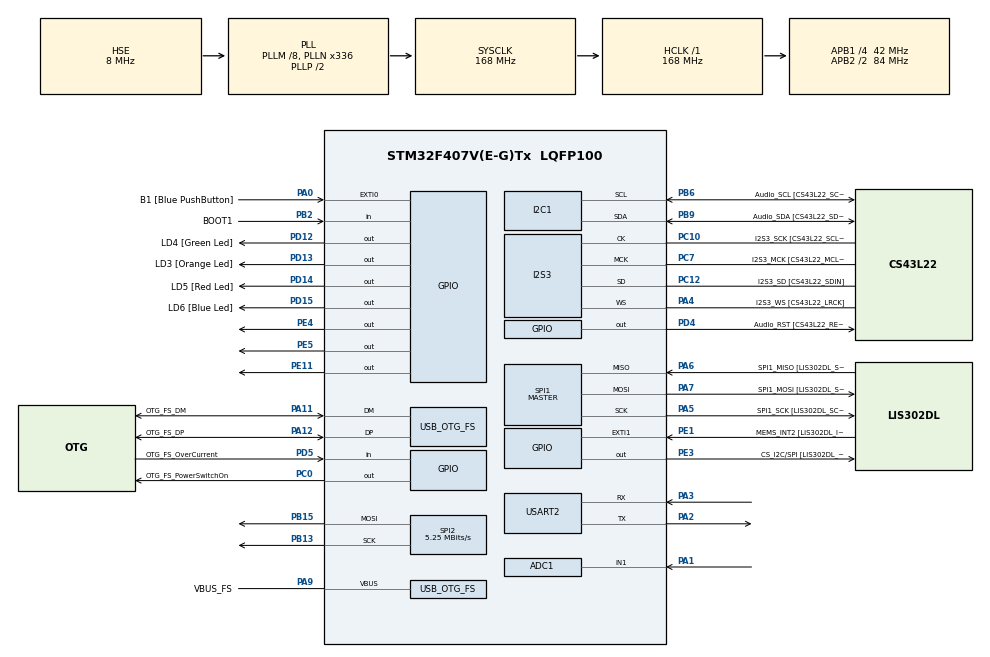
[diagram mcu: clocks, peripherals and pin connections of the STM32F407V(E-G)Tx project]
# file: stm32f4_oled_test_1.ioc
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ADC1.Channel-0\#ChannelRegularConversion=ADC_CHANNEL_1
ADC1.ClockPrescaler=ADC_CLOCK_SYNC_PCLK_DIV8
ADC1.ExternalTrigConv=ADC_EXTERNALTRIGCONV_T8_TRGO
ADC1.InjNumberOfConversion=0
ADC1.NbrOfConversion=1
ADC1.NbrOfConversionFlag=1
ADC1.Rank-0\#ChannelRegularConversion=1
ADC1.SamplingTime-0\#ChannelRegularConversion=ADC_SAMPLETIME_3CYCLES
ADC1.master=1
FREERTOS.Tasks01=defaultTask,24,128,StartDefaultTask,Default,NULL,Dynamic,NULL,NULL
I2S3.AudioFreq-Half_Duplex_Master=I2S_AUDIOFREQ_96K
I2S3.ErrorAudioFreq=-2.34 %
I2S3.ErrorAudioFreq-Half_Duplex_Master=0.8 %
I2S3.FullDuplexMode=I2S_FULLDUPLEXMODE_DISABLE
I2S3.Instance=SPI$Index
I2S3.RealAudioFreq=93.75 KHz
I2S3.RealAudioFreq-Half_Duplex_Master=96.774 KHz
I2S3.VirtualMode=I2S_MODE_MASTER
Mcu.Family=STM32F4
Mcu.Name=STM32F407V(E-G)Tx
Mcu.Package=LQFP100
NVIC.ADC_IRQn=true\:0\:0\:false\:false\:true\:true\:true\:true
NVIC.EXTI0_IRQn=true\:0\:0\:false\:false\:true\:false\:true\:true
NVIC.OTG_FS_IRQn=true\:0\:0\:false\:false\:true\:false\:true\:true
NVIC.PriorityGroup=NVIC_PRIORITYGROUP_4
NVIC.TIM8_TRG_COM_TIM14_IRQn=true\:0\:0\:false\:false\:true\:true\:false\:true
NVIC.TimeBase=TIM8_TRG_COM_TIM14_IRQn
NVIC.TimeBaseIP=TIM14
NVIC.USART2_IRQn=true\:0\:0\:false\:false\:true\:false\:true\:true
PA0-WKUP.GPIO_Label=B1 [Blue PushButton]
PA0-WKUP.GPIO_ModeDefaultEXTI=GPIO_MODE_IT_RISING
PA0-WKUP.GPIO_PuPd=GPIO_NOPULL
PA0-WKUP.Signal=GPXTI0
PA1.Signal=ADCx_IN1
PA10.GPIO_Label=OTG_FS_ID
PA10.GPIO_Mode=GPIO_MODE_AF_PP
PA10.GPIO_PuPd=GPIO_NOPULL
PA10.GPIO_Speed=GPIO_SPEED_FREQ_LOW
PA10.Signal=USB_OTG_FS_ID
PA11.GPIO_Label=OTG_FS_DM
PA11.GPIO_Mode=GPIO_MODE_AF_PP
PA11.GPIO_PuPd=GPIO_NOPULL
PA11.GPIO_Speed=GPIO_SPEED_FREQ_LOW
PA11.Mode=Host_Only
PA11.Signal=USB_OTG_FS_DM
PA12.GPIO_Label=OTG_FS_DP
PA12.GPIO_Mode=GPIO_MODE_AF_PP
PA12.GPIO_PuPd=GPIO_NOPULL
PA12.GPIO_Speed=GPIO_SPEED_FREQ_LOW
PA12.Mode=Host_Only
PA12.Signal=USB_OTG_FS_DP
PA13.GPIO_Label=SWDIO
PA13.Mode=Serial_Wire
PA13.Signal=SYS_JTMS-SWDIO
PA14.GPIO_Label=SWCLK
PA14.Mode=Serial_Wire
PA14.Signal=SYS_JTCK-SWCLK
PA2.Mode=Asynchronous
PA2.Signal=USART2_TX
PA3.Mode=Asynchronous
PA3.Signal=USART2_RX
PA4.GPIO_Label=I2S3_WS [CS43L22_LRCK]
PA4.GPIO_Mode=GPIO_MODE_AF_PP
PA4.GPIO_PuPd=GPIO_NOPULL
PA4.GPIO_Speed=GPIO_SPEED_FREQ_LOW
PA4.Mode=Half_Duplex_Master
PA4.Signal=I2S3_WS
PA5.GPIO_Label=SPI1_SCK [LIS302DL_SCL/SPC]
PA5.GPIO_Mode=GPIO_MODE_AF_PP
PA5.GPIO_PuPd=GPIO_NOPULL
PA5.GPIO_Speed=GPIO_SPEED_FREQ_LOW
PA5.Mode=Full_Duplex_Master
PA5.Signal=SPI1_SCK
PA6.GPIO_Label=SPI1_MISO [LIS302DL_SDO]
PA6.GPIO_Mode=GPIO_MODE_AF_PP
PA6.GPIO_PuPd=GPIO_NOPULL
PA6.GPIO_Speed=GPIO_SPEED_FREQ_LOW
PA6.Mode=Full_Duplex_Master
PA6.Signal=SPI1_MISO
PA7.GPIO_Label=SPI1_MOSI [LIS302DL_SDA/SDI/SDO]
PA7.GPIO_Mode=GPIO_MODE_AF_PP
PA7.GPIO_PuPd=GPIO_NOPULL
PA7.GPIO_Speed=GPIO_SPEED_FREQ_LOW
PA7.Mode=Full_Duplex_Master
PA7.Signal=SPI1_MOSI
PA9.GPIO_Label=VBUS_FS
PA9.GPIO_Mode=GPIO_MODE_INPUT
PA9.GPIO_PuPd=GPIO_NOPULL
PA9.Mode=Activate_VBUS
PA9.Signal=USB_OTG_FS_VBUS
PB10.GPIO_Label=CLK_IN [MP45DT02_CLK]
PB10.GPIO_Mode=GPIO_MODE_AF_PP
PB10.GPIO_PuPd=GPIO_NOPULL
PB10.GPIO_Speed=GPIO_SPEED_FREQ_LOW
PB10.Signal=I2S2_CK
PB13.Mode=TX_Only_Simplex_Unidirect_Master
PB13.Signal=SPI2_SCK
PB15.Mode=TX_Only_Simplex_Unidirect_Master
PB15.Signal=SPI2_MOSI
PB2.GPIO_Label=BOOT1
PB2.GPIO_Mode=GPIO_MODE_INPUT
PB2.GPIO_PuPd=GPIO_NOPULL
PB2.Signal=GPIO_Input
PB3.GPIO_Label=SWO
PB3.Signal=SYS_JTDO-SWO
PB6.GPIO_Label=Audio_SCL [CS43L22_SCL]
PB6.GPIO_Mode=GPIO_MODE_AF_OD
PB6.GPIO_PuPd=GPIO_NOPULL
PB6.GPIO_Speed=GPIO_SPEED_FREQ_LOW
PB6.Mode=I2C
PB6.Signal=I2C1_SCL
PB9.GPIO_Label=Audio_SDA [CS43L22_SDA]
PB9.GPIO_Mode=GPIO_MODE_AF_OD
PB9.GPIO_PuPd=GPIO_NOPULL
PB9.GPIO_Speed=GPIO_SPEED_FREQ_LOW
PB9.Mode=I2C
PB9.Signal=I2C1_SDA
PC0.GPIO_Label=OTG_FS_PowerSwitchOn
PC0.GPIO_PuPd=GPIO_NOPULL
PC0.GPIO_Speed=GPIO_SPEED_FREQ_LOW
PC0.PinState=GPIO_PIN_SET
PC0.Signal=GPIO_Output
PC10.GPIO_Label=I2S3_SCK [CS43L22_SCLK]
PC10.GPIO_Mode=GPIO_MODE_AF_PP
PC10.GPIO_PuPd=GPIO_NOPULL
PC10.GPIO_Speed=GPIO_SPEED_FREQ_LOW
PC10.Mode=Half_Duplex_Master
PC10.Signal=I2S3_CK
PC12.GPIO_Label=I2S3_SD [CS43L22_SDIN]
PC12.GPIO_Mode=GPIO_MODE_AF_PP
PC12.GPIO_PuPd=GPIO_NOPULL
PC12.GPIO_Speed=GPIO_SPEED_FREQ_LOW
PC12.Mode=Half_Duplex_Master
PC12.Signal=I2S3_SD
PC14-OSC32_IN.GPIO_Label=PC14-OSC32_IN
PC14-OSC32_IN.Mode=LSE-External-Oscillator
PC14-OSC32_IN.Signal=RCC_OSC32_IN
PC15-OSC32_OUT.GPIO_Label=PC15-OSC32_OUT
PC15-OSC32_OUT.Mode=LSE-External-Oscillator
PC15-OSC32_OUT.Signal=RCC_OSC32_OUT
PC3.GPIO_Label=PDM_OUT [MP45DT02_DOUT]
PC3.GPIO_Mode=GPIO_MODE_AF_PP
PC3.GPIO_PuPd=GPIO_NOPULL
PC3.GPIO_Speed=GPIO_SPEED_FREQ_LOW
PC3.Signal=I2S2_SD
PC7.GPIO_Label=I2S3_MCK [CS43L22_MCLK]
PC7.GPIO_Mode=GPIO_MODE_AF_PP
PC7.GPIO_PuPd=GPIO_NOPULL
PC7.GPIO_Speed=GPIO_SPEED_FREQ_LOW
PC7.Mode=Master_Clock_Activated
PC7.Signal=I2S3_MCK
PD12.GPIO_Label=LD4 [Green Led]
PD12.GPIO_PuPd=GPIO_NOPULL
PD12.GPIO_Speed=GPIO_SPEED_FREQ_LOW
PD12.Signal=GPIO_Output
PD13.GPIO_Label=LD3 [Orange Led]
PD13.GPIO_PuPd=GPIO_NOPULL
PD13.GPIO_Speed=GPIO_SPEED_FREQ_LOW
PD13.Signal=GPIO_Output
PD14.GPIO_Label=LD5 [Red Led]
PD14.GPIO_PuPd=GPIO_NOPULL
PD14.GPIO_Speed=GPIO_SPEED_FREQ_LOW
PD14.Signal=GPIO_Output
PD15.GPIO_Label=LD6 [Blue Led]
PD15.GPIO_PuPd=GPIO_NOPULL
PD15.GPIO_Speed=GPIO_SPEED_FREQ_LOW
PD15.Signal=GPIO_Output
PD4.GPIO_Label=Audio_RST [CS43L22_RESET]
PD4.GPIO_PuPd=GPIO_NOPULL
PD4.GPIO_Speed=GPIO_SPEED_FREQ_LOW
PD4.Signal=GPIO_Output
PD5.GPIO_Label=OTG_FS_OverCurrent
PD5.GPIO_Mode=GPIO_MODE_INPUT
PD5.GPIO_PuPd=GPIO_NOPULL
PD5.Signal=GPIO_Input
PE1.GPIO_Label=MEMS_INT2 [LIS302DL_INT2]
PE1.GPIO_ModeDefaultEXTI=GPIO_MODE_EVT_RISING
PE1.GPIO_PuPd=GPIO_NOPULL
PE1.Signal=GPXTI1
PE11.Signal=GPIO_Output
PE3.GPIO_Label=CS_I2C/SPI [LIS302DL_CS_I2C/SPI]
PE3.GPIO_PuPd=GPIO_NOPULL
PE3.GPIO_Speed=GPIO_SPEED_FREQ_LOW
PE3.Signal=GPIO_Output
PE4.Signal=GPIO_Output
PE5.Signal=GPIO_Output
PH0-OSC_IN.GPIO_Label=PH0-OSC_IN
PH0-OSC_IN.Mode=HSE-External-Oscillator
PH0-OSC_IN.Signal=RCC_OSC_IN
PH1-OSC_OUT.GPIO_Label=PH1-OSC_OUT
PH1-OSC_OUT.Mode=HSE-External-Oscillator
PH1-OSC_OUT.Signal=RCC_OSC_OUT
ProjectManager.HeapSize=0x200
ProjectManager.StackSize=0x400
ProjectManager.TargetToolchain=STM32CubeIDE
RCC.48MHZClocksFreq_Value=48000000
RCC.AHBFreq_Value=168000000
RCC.APB1CLKDivider=RCC_HCLK_DIV4
RCC.APB1Freq_Value=42000000
RCC.APB1TimFreq_Value=84000000
RCC.APB2CLKDivider=RCC_HCLK_DIV2
RCC.APB2Freq_Value=84000000
RCC.APB2TimFreq_Value=168000000
RCC.CortexFreq_Value=168000000
RCC.HCLKFreq_Value=168000000
RCC.HSE_VALUE=8000000
RCC.HSI_VALUE=16000000
RCC.PLLM=8
RCC.PLLN=336
RCC.PLLQ=7
RCC.SYSCLKFreq_VALUE=168000000
RCC.SYSCLKSource=RCC_SYSCLKSOURCE_PLLCLK
RCC.VCOOutputFreq_Value=336000000
SH.ADCx_IN1.0=ADC1_IN1,IN1
SPI1.BaudRatePrescaler-Full_Duplex_Master=SPI_BAUDRATEPRESCALER_2
SPI1.CalculateBaudRate-Full_Duplex_Master=42.0 MBits/s
SPI1.Direction=SPI_DIRECTION_2LINES
SPI1.Mode=SPI_MODE_MASTER
SPI1.Mode-Full_Duplex_Master=SPI_MODE_MASTER
SPI1.VirtualType=VM_MASTER
SPI2.BaudRatePrescaler=SPI_BAUDRATEPRESCALER_8
SPI2.CalculateBaudRate=5.25 MBits/s
SPI2.Direction=SPI_DIRECTION_2LINES
SPI2.Mode=SPI_MODE_MASTER
SPI2.VirtualType=VM_MASTER
TIM8.Period=10000
TIM8.Prescaler=84
TIM8.TIM_MasterOutputTrigger=TIM_TRGO_UPDATE
TIM8.TIM_MasterSlaveMode=TIM_MASTERSLAVEMODE_DISABLE
USART2.VirtualMode=VM_ASYNC
USB_HOST.BSP.number=1
USB_HOST.USBH_HandleTypeDef-CDC_FS=hUsbHostFS
USB_HOST.VirtualModeFS=Cdc
USB_HOST0.BSP.STBoard=false
USB_HOST0.BSP.api=Unknown
USB_HOST0.BSP.i2caddr=0
USB_HOST0.BSP.i2creg=0
USB_HOST0.BSP.instance=PC0
USB_HOST0.BSP.ip=GPIO
USB_HOST0.BSP.mode=Output
USB_HOST0.BSP.name=Drive_VBUS_FS
USB_HOST0.BSP.solution=PC0
USB_OTG_FS.VirtualMode=Host_Only
USB_OTG_FS.phy_itface=HCD_PHY_EMBEDDED
VP_FREERTOS_VS_CMSIS_V2.Mode=CMSIS_V2
VP_SYS_VS_tim14.Mode=TIM14
VP_TIM8_VS_ClockSourceINT.Mode=Internal
VP_USB_HOST_VS_USB_HOST_CDC_FS.Mode=CDC_FS
board=STM32F407G-DISC1

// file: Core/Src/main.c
/* USER CODE BEGIN Header */
/**
  ******************************************************************************
  * @file           : main.c
  * @brief          : Main program body
  ******************************************************************************
  * @attention
  *
  * <h2><center>&copy; Copyright (c) 2020 STMicroelectronics.
  * All rights reserved.</center></h2>
  *
  * This software component is licensed by ST under Ultimate Liberty license
  * SLA0044, the "License"; You may not use this file except in compliance with
  * the License. You may obtain a copy of the License at:
  *                             www.st.com/SLA0044
  *
  ******************************************************************************
  */
/* USER CODE END Header */

#include "main.h"
#include "cmsis_os.h"
#include "adc.h"
#include "i2c.h"
#include "i2s.h"
#include "spi.h"
#include "tim.h"
#include "usart.h"
#include "usb_host.h"
#include "gpio.h"

/* USER CODE BEGIN Includes */
#include <stdio.h>
#include <string.h>
#include "my_graphic_lib.h"
#include "ssd1306.h"
#include "timers.h"

/* USER CODE END Includes */

/* USER CODE BEGIN PTD */

enum item_t{
	TERMINAL,
	BATTERY,
	SIGNAL,
	GRAPH
};

typedef struct {                                // object data type
  uint8_t Buf[32];
  int signal;
  int battery;
  int graph_value;
  enum item_t item;

} MSGQUEUE_OBJ_t;

/* USER CODE END PTD */

/* USER CODE BEGIN PV */

void StartOledTask(void *argument);
void StartUartTask(void *argument);

osThreadId_t oledTaskHandle;
osThreadId_t uartTaskHandle;

const osThreadAttr_t oledTask_attributes = {
  .name = "oledTask",
  .priority = (osPriority_t) osPriorityNormal1,
  .stack_size = 3000
};
const osThreadAttr_t uartTask_attributes = {
  .name = "uartTask",
  .priority = (osPriority_t) osPriorityNormal2,
  .stack_size = 1000
};

osMessageQueueId_t mid_MsgQueue;
osTimerId_t debounce_timer;

/* USER CODE END PV */

void SystemClock_Config(void);
void MX_FREERTOS_Init(void);
/* USER CODE BEGIN PFP */

void HAL_GPIO_EXTI_Callback(uint16_t GPIO_Pin)
{

//	static int prescaler = 0;

	 if(GPIO_Pin == GPIO_PIN_0)
	 {
	//	 osTimerStart(debounce_timer, 50U);

		 BaseType_t xHigherPriorityTaskWoken = pdFALSE;

		     if( xTimerStartFromISR( debounce_timer,  &xHigherPriorityTaskWoken ) != pdPASS )
		     {
		         /* The start command was not executed successfully.  Take appropriate
		         action here. */
		     }
		     if( xHigherPriorityTaskWoken != pdFALSE )
		     {
		         /* Call the interrupt safe yield function here (actual function
		         depends on the FreeRTOS port being used). */
		     }
	 }

  /* Prevent unused argument(s) compilation warning */
  ///UNUSED(GPIO_Pin);
  /* NOTE: This function Should not be modified, when the callback is needed,the HAL_GPIO_EXTI_Callback could be implemented in the user file */
}

void HAL_ADC_ConvCpltCallback(ADC_HandleTypeDef* hadc)
{
	MSGQUEUE_OBJ_t g_data;

	uint16_t adc_value = hadc->Instance->DR;

	g_data.item = GRAPH;
	g_data.graph_value = adc_value;
    osMessageQueuePut(mid_MsgQueue, &g_data, 0U, 0U);

    return;

//	uint8_t buf[3];
//
//	buf[0] = 0xf7;
//	buf[1] = adc_value>>8;
//	buf[2] = adc_value;
//
//
//	HAL_UART_Transmit( &huart2,  buf, 3, 1000);
//

//	adcv[adci] = adc_value;
//	adci++;
//	if(adci >= 1024) adci = 0;
  /* Prevent unused argument(s) compilation warning */
  /* NOTE : This function Should not be modified, when the callback is needed,
            the HAL_ADC_ConvCpltCallback could be implemented in the user file
   */
}

static void debounce_timer_Callback (void *argument) {
  int32_t arg = (int32_t)argument; // cast back argument '0'
  // do something, i.e. set thread/event flags

     static int prescaler = 0;

	 if(prescaler == 0) {
		 TIM8->PSC = 84;	//100Hz
	 }
	 if(prescaler == 1) {
		 TIM8->PSC = 84*2;	//50Hz
	 }
	 if(prescaler == 2) {
		 TIM8->PSC = 84*3; //30Hz
	 }
	 if(prescaler == 3) {
		 TIM8->PSC = 84*4; //25Hz
	 }

	 prescaler++;
	 if(prescaler >= 4) prescaler = 0;

	 return;

  MSGQUEUE_OBJ_t tx_data;

	static int signal = 0;

/*	 tx_data.item = TERMINAL;
	 sprintf(tx_data.Buf, "Button pressed");
	 osMessageQueuePut(mid_MsgQueue, &tx_data, 0U, 0U);    */

	tx_data.item = SIGNAL;
		tx_data.signal = signal++;
	    osMessageQueuePut(mid_MsgQueue, &tx_data, 0U, 0U);
	    if(signal > 5) signal = 0;

}

void StartOledTask(void *argument)
{

  char* lines[5];
  char bat[5];
  char signal[5];

  HAL_TIM_Base_Start(&htim8);
  HAL_ADC_Start_IT(&hadc1);

  memset(bat, 0,  sizeof(bat));
  memset(signal, 0, sizeof(signal));

  for( int i = 0; i < 5; i++ ) {
	  lines[i] = pvPortMalloc(32);
	  memset(lines[i], 0, 32);
  }

  osTimerStart(debounce_timer, 400U);

  uint8_t graph[128];
  memset(graph, 0, 128);

  //////////////
  while(1)
  {
	MSGQUEUE_OBJ_t data;

	if (osMessageQueueGet(mid_MsgQueue, &data, NULL, 1000U) == osOK) {

		if(data.item == TERMINAL) {
			for( int i = 0; i < 5; i++ ) {
				print_string(lines[i], 1, 9*2 + i*9, 0);
			}

			for(int i  = 0; i < 4; i++ ) {
				memcpy(lines[i], lines[i + 1], 32);
			}
			memcpy(lines[4], data.Buf, 32);

			for( int i = 0; i < 5; i++ ) {
				print_string(lines[i], 1, 9*2 + i*9, 1);
			}
		}

		else if( data.item == BATTERY ) {
			print_string(bat, 1, 1 , 0);
			sprintf(bat, "%d%%", data.battery);
			print_string(bat, 1, 1 , 1);
		}

		else if( data.item == GRAPH ) {
			// clean the graph pixels from the oled
			for(int i = 0; i < 127; i++) {
				drawline(i, graph[i], i+1 ,graph[i+1], 0);
				//set_pixel(i, graph[i], 0);
			}

			//move entire graph pixels to left
			for(int i = 0; i < 127; i++) {
				graph[i] = graph[i+1];
			}

			// graph variable should have value between 0 to 63 only because it is y value.
			//2048 to 2200 is range
			int adc = data.graph_value/2;
			adc -= 2040/2;
			if(adc < 0) adc = 0;
			if(adc > 63) adc = 63;

			graph[127] = (uint8_t) adc;

			// clean the graph pixels from the oled
			for(int i = 0; i < 127; i++) {
				drawline(i, graph[i], i+1 ,graph[i+1], 1);
				//set_pixel(i, graph[i], 0);
			}

//			for(int i = 0; i < 128; i++) {
//				set_pixel(i, graph[i], 1);
//			}
		}

		else if( data.item == SIGNAL ) {
			print_string(signal, 128 - 6*2, 1 , 0);
			sprintf(signal, "%d", data.signal);
			print_string(signal, 128 - 6*2, 1 , 1);
		}

		ssd1306_UpdateScreen();

	}

//	char buff[20];
//	sprintf(buff, "%d", count++);
//	print_string( buff, 10, 10, 1 );
//	ssd1306_UpdateScreen();
//    osDelay(1000);
//	print_string( buff, 10, 10, 0 );
  }
  /* USER CODE END 5 */
}

void StartUartTask(void *argument)
{
  int count = 0;

  int battery, signal;

  battery = 0;
  signal = 0;

  for(;;)
  {
/*	MSGQUEUE_OBJ_t tx_data;

	tx_data.item = TERMINAL;
	int free_heap =  xPortGetFreeHeapSize();
	sprintf(tx_data.Buf, "Free heap %d KB", free_heap/1024);
    osMessageQueuePut(mid_MsgQueue, &tx_data, 0U, 0U);

	tx_data.item = BATTERY;
	tx_data.battery = battery++;
    osMessageQueuePut(mid_MsgQueue, &tx_data, 0U, 0U);
    if(battery > 100) battery = 0;
*/
/*	tx_data.item = SIGNAL;
	tx_data.signal = signal++;
    osMessageQueuePut(mid_MsgQueue, &tx_data, 0U, 0U);
    if(signal > 5) signal = 0;   */

    osDelay(500);

  }
  /* USER CODE END 5 */
}
/* USER CODE END PFP */

int main(void)
{

  /* MCU Configuration--------------------------------------------------------*/

  /* Reset of all peripherals, Initializes the Flash interface and the Systick. */
  HAL_Init();

  /* Configure the system clock */
  SystemClock_Config();

  /* Initialize all configured peripherals */
  MX_GPIO_Init();
  MX_I2C1_Init();
  MX_I2S3_Init();
  MX_SPI1_Init();
  MX_SPI2_Init();
  MX_USART2_UART_Init();
  MX_ADC1_Init();
  MX_TIM8_Init();
  /* Init scheduler */
  osKernelInitialize();

  /* Call init function for freertos objects (in freertos.c) */
 // MX_FREERTOS_Init();

  /* Start scheduler */
  //osKernelStart();

  /* We should never get here as control is now taken by the scheduler */

  /* Infinite loop */
  /* USER CODE BEGIN WHILE */

   mid_MsgQueue = osMessageQueueNew(30, sizeof(MSGQUEUE_OBJ_t), NULL);
   if (mid_MsgQueue == NULL) {
     ; // Message Queue object not created, handle failure
   }
   debounce_timer = osTimerNew(debounce_timer_Callback, osTimerOnce, (void *)0, NULL);     // (void*)0 is passed as an argument

  oledTaskHandle = osThreadNew(StartOledTask, NULL, &oledTask_attributes);
  uartTaskHandle = osThreadNew(StartUartTask, NULL, &uartTask_attributes);

   ssd1306_Init();	//initialize the oled display for 128 x 64 pixels

   memset(SSD1306_Buffer, 0x0, 128 * 8);	//clear the display buffer

   osKernelStart();

  while (1)
  {
    /* USER CODE END WHILE */

  }
}

void SystemClock_Config(void)
{
  RCC_OscInitTypeDef RCC_OscInitStruct = {0};
  RCC_ClkInitTypeDef RCC_ClkInitStruct = {0};
  RCC_PeriphCLKInitTypeDef PeriphClkInitStruct = {0};

  /** Configure the main internal regulator output voltage
  */
  __HAL_RCC_PWR_CLK_ENABLE();
  __HAL_PWR_VOLTAGESCALING_CONFIG(PWR_REGULATOR_VOLTAGE_SCALE1);
  /** Initializes the CPU, AHB and APB busses clocks
  */
  RCC_OscInitStruct.OscillatorType = RCC_OSCILLATORTYPE_HSE;
  RCC_OscInitStruct.HSEState = RCC_HSE_ON;
  RCC_OscInitStruct.PLL.PLLState = RCC_PLL_ON;
  RCC_OscInitStruct.PLL.PLLSource = RCC_PLLSOURCE_HSE;
  RCC_OscInitStruct.PLL.PLLM = 8;
  RCC_OscInitStruct.PLL.PLLN = 336;
  RCC_OscInitStruct.PLL.PLLP = RCC_PLLP_DIV2;
  RCC_OscInitStruct.PLL.PLLQ = 7;
  if (HAL_RCC_OscConfig(&RCC_OscInitStruct) != HAL_OK)
  {
    Error_Handler();
  }
  /** Initializes the CPU, AHB and APB busses clocks
  */
  RCC_ClkInitStruct.ClockType = RCC_CLOCKTYPE_HCLK|RCC_CLOCKTYPE_SYSCLK
                              |RCC_CLOCKTYPE_PCLK1|RCC_CLOCKTYPE_PCLK2;
  RCC_ClkInitStruct.SYSCLKSource = RCC_SYSCLKSOURCE_PLLCLK;
  RCC_ClkInitStruct.AHBCLKDivider = RCC_SYSCLK_DIV1;
  RCC_ClkInitStruct.APB1CLKDivider = RCC_HCLK_DIV4;
  RCC_ClkInitStruct.APB2CLKDivider = RCC_HCLK_DIV2;

  if (HAL_RCC_ClockConfig(&RCC_ClkInitStruct, FLASH_LATENCY_5) != HAL_OK)
  {
    Error_Handler();
  }
  PeriphClkInitStruct.PeriphClockSelection = RCC_PERIPHCLK_I2S;
  PeriphClkInitStruct.PLLI2S.PLLI2SN = 192;
  PeriphClkInitStruct.PLLI2S.PLLI2SR = 2;
  if (HAL_RCCEx_PeriphCLKConfig(&PeriphClkInitStruct) != HAL_OK)
  {
    Error_Handler();
  }
}

void HAL_TIM_PeriodElapsedCallback(TIM_HandleTypeDef *htim)
{
  if (htim->Instance == TIM14) {
    HAL_IncTick();
  }
}

void Error_Handler(void)
{
  /* USER CODE BEGIN Error_Handler_Debug */
  /* User can add his own implementation to report the HAL error return state */

	//    object_t square_obj;
	//    object_t square2_obj;
	//
	//    square_obj.object_type = OBJECT_SQUARE;
	//    square_obj.square.x1 = 0;
	//    square_obj.square.y1 = 0;
	//    square_obj.square.x2 = 20;
	//    square_obj.square.y2 = 20;
	//    square_obj.square.fill = 0;
	//
	//    square2_obj.object_type = OBJECT_SQUARE;
	//    square2_obj.square.x1 = 0;
	//    square2_obj.square.y1 = 64/2;
	//    square2_obj.square.x2 = 0 + 10;
	//    square2_obj.square.y2 = 64/2 + 10;
	//    square2_obj.square.fill = 0;
	//
	//    object_t circle1_obj;
	//    object_t circle2_obj;
	//
	//    circle1_obj.object_type = OBJECT_CIRCLE;
	//    circle1_obj.circle.x1 = 10;
	//    circle1_obj.circle.y1 = 10;
	//    circle1_obj.circle.radius = 5;
	//    circle1_obj.circle.fill = 0;
	//
	//    circle2_obj.object_type = OBJECT_CIRCLE;
	//    circle2_obj.circle.x1 = 10;
	//    circle2_obj.circle.y1 = 20;
	//    circle2_obj.circle.radius = 15;
	//    circle2_obj.circle.fill = 0;
	//
	//
	//    object_init(&square_obj);
	//    object_init(&square2_obj);
	//    object_init(&circle1_obj);
	//    object_init(&circle2_obj);
	//
	//    while(1)
	//    {
	//  	  for(int i = 0; i < 64; i++) {
	//  		  object_move(&square_obj, 1, 1);
	//  		  object_move(&square2_obj, 1, 0);
	//
	//  		  object_move(&circle1_obj, 1, 1);
	//  		  object_move(&circle2_obj, 1, 0);
	//
	//  		  HAL_Delay(100);
	//  	  }
	//
	//  	  for(int i = 0; i < 64; i++) {
	//  	  	   object_move(&square_obj, -1, -1);
	//  	  	   object_move(&square2_obj, -1, 0);
	//  	  	   object_move(&circle1_obj, -1, -1);
	//  	  	   object_move(&circle2_obj, -1, 0);
	//
	//  	  		HAL_Delay(100);
	//  	  }
	//
	//    }

  /* USER CODE END Error_Handler_Debug */
}

/************************ (C) COPYRIGHT STMicroelectronics *****END OF FILE****/

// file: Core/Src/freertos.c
/* USER CODE BEGIN Header */
/**
  ******************************************************************************
  * File Name          : freertos.c
  * Description        : Code for freertos applications
  ******************************************************************************
  * @attention
  *
  * <h2><center>&copy; Copyright (c) 2020 STMicroelectronics.
  * All rights reserved.</center></h2>
  *
  * This software component is licensed by ST under Ultimate Liberty license
  * SLA0044, the "License"; You may not use this file except in compliance with
  * the License. You may obtain a copy of the License at:
  *                             www.st.com/SLA0044
  *
  ******************************************************************************
  */
/* USER CODE END Header */

#include "FreeRTOS.h"
#include "task.h"
#include "main.h"
#include "cmsis_os.h"

/* Definitions for defaultTask */
osThreadId_t defaultTaskHandle;
const osThreadAttr_t defaultTask_attributes = {
  .name = "defaultTask",
  .priority = (osPriority_t) osPriorityNormal,
  .stack_size = 128
};

void StartDefaultTask(void *argument);

extern void MX_USB_HOST_Init(void);
void MX_FREERTOS_Init(void); /* (MISRA C 2004 rule 8.1) */

void MX_FREERTOS_Init(void) {

  /* Create the thread(s) */
  /* creation of defaultTask */
 // defaultTaskHandle = osThreadNew(StartDefaultTask, NULL, &defaultTask_attributes);

}

void StartDefaultTask(void *argument)
{
  /* init code for USB_HOST */
  MX_USB_HOST_Init();
  for(;;)
  {
    osDelay(1);
  }
}

/************************ (C) COPYRIGHT STMicroelectronics *****END OF FILE****/
